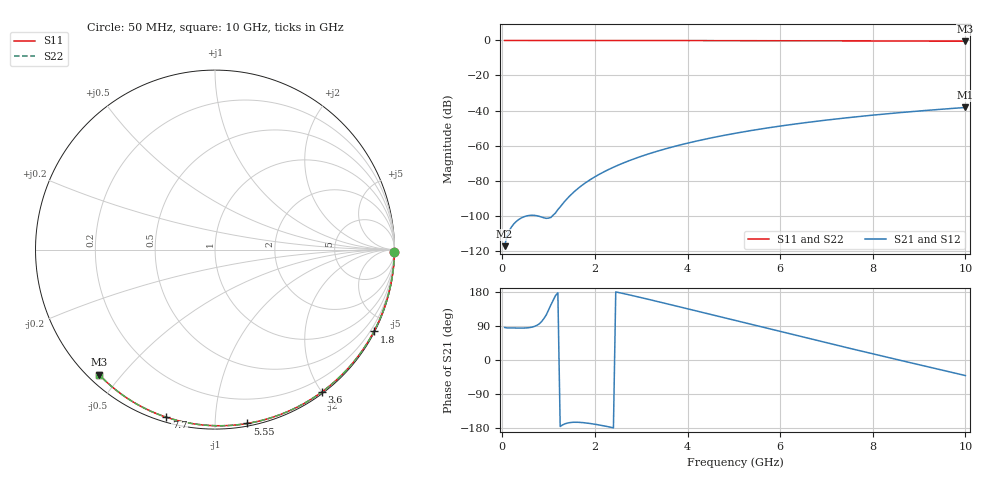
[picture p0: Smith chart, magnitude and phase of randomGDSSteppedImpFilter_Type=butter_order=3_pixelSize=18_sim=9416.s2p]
! freq	dB(S11)	phase(S11)	dB(S12)	phase(S12)
!  dB(S21)	phase(S21)	dB(S22)	phase(S22)
!S-par simulation data
#  GHz  S  DB  R 50
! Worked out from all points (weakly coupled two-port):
!   200 points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, 50 MHz to 10 GHz, reference 50 ohm
!   highest |S21| = -38.28 dB at 10 GHz (marker M1); lowest = -117.5 dB at 50 MHz (marker M2)
!   lowest |S11| = -0.4 dB at 10 GHz (marker M3), VSWR 38.79, Z = 1.53 - j21.8 ohm
!   |S11| at or under -10 dB: nowhere
!   |S22| runs from -0.4 to 0.0 dB; largest |S21 - S12| = 0
!   S11 on the Smith chart (normalised r, x): 50 MHz: open; 1.8 GHz: 0.04, -4.13; 3.6 GHz: 0.02, -1.99; 5.55 GHz: 0.02, -1.20; 7.7 GHz: 0.02, -0.75; 10 GHz: 0.03, -0.44
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0.05  -0.00 -0.8  -117.48 85.7  -117.48 85.7  -0.00 -0.8
0.9  -0.02 -13.8  -101.29 109.7  -101.29 109.7  -0.02 -13.8
1.75  -0.03 -26.5  -82.17 -165.3  -82.17 -165.3  -0.03 -26.5
1.8  -0.03 -27.2  -81.23 -166.0  -81.23 -166.0  -0.03 -27.2
1.85  -0.04 -28.0  -80.33 -166.8  -80.33 -166.8  -0.04 -28.0
1.9  -0.04 -28.7  -79.48 -167.6  -79.48 -167.6  -0.04 -28.7
2.05  -0.04 -30.9  -77.09 -170.6  -77.09 -170.6  -0.04 -30.9
2.25  -0.04 -33.9  -74.28 -175.2  -74.28 -175.2  -0.04 -33.9
2.45  -0.05 -36.8  -71.80 179.8  -71.80 179.8  -0.05 -36.8
2.65  -0.05 -39.7  -69.58 174.4  -69.58 174.4  -0.05 -39.7
3  -0.06 -44.8  -66.17 164.6  -66.17 164.6  -0.06 -44.8
3.4  -0.07 -50.4  -62.83 153.0  -62.83 153.0  -0.07 -50.4
3.6  -0.07 -53.3  -61.34 147.1  -61.34 147.1  -0.07 -53.3
4.3  -0.09 -62.9  -56.83 126.2  -56.83 126.2  -0.09 -62.9
5.05  -0.11 -73.0  -52.92 103.6  -52.92 103.6  -0.11 -73.0
5.55  -0.13 -79.5  -50.69 88.6  -50.69 88.6  -0.13 -79.5
6.1  -0.15 -86.5  -48.52 72.2  -48.52 72.2  -0.15 -86.5
6.7  -0.18 -94.0  -46.42 54.4  -46.42 54.4  -0.18 -94.0
7.7  -0.24 -106.1  -43.44 25.0  -43.44 25.0  -0.24 -106.1
8.35  -0.29 -113.8  -41.78 6.2  -41.78 6.2  -0.29 -113.8
9.15  -0.36 -123.1  -39.97 -16.8  -39.97 -16.8  -0.36 -123.1
10  -0.45 -132.8  -38.28 -41.1  -38.28 -41.1  -0.45 -132.8
